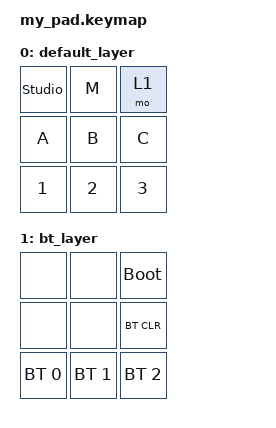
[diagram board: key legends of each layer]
#include <behaviors.dtsi>
#include <dt-bindings/zmk/keys.h>
#include <dt-bindings/zmk/bt.h>

/ {
    keymap {
        compatible = "zmk,keymap";

        default_layer { // Layer 0
            // -------------------------------------
            // |     Z     |     M     |     K     |
            // |     A     |     B     |     C     |
            // |     D     |     E     |     F     |
            bindings = <
                &studio_unlock &kp M    &mo 1
                &kp A    &kp B    &kp C
                &kp N1    &kp N2    &kp N3 
            >;
        };

        bt_layer { // Layer 1 
            // -------------------------------------
            // |     Z     |     M     |     K     |
            // |     A     |     B     |     C     |
            // |     D     |     E     |     F     |
            bindings = <
                &none       &none       &bootloader
                &none       &none       &bt BT_CLR
                &bt BT_SEL 0   &bt BT_SEL 1   &bt BT_SEL 2
            >;
        };
    };
 };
